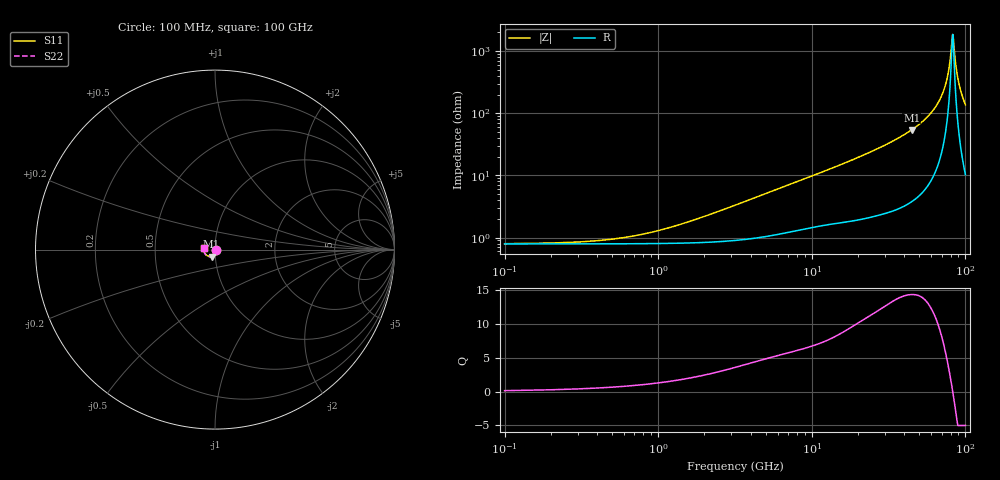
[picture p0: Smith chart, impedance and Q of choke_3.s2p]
#  Hz  S  RI  R  50
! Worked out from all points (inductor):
!   1000 points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, 100 MHz to 100 GHz, reference 50 ohm
!   read as 1/Y11, port 2 shorted: L = 160 pH near 2.6 GHz
!   highest Q = 14.3 at 44.7 GHz (marker M1), where L = 192 pH
!   self-resonance near 82.69 GHz
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1e8  0.00793 -7.28e-06  0.9922 -0.00201  0.9922 -0.00201  0.00793 -8.02e-06
1.3e9  0.00811 -0.000118  0.9917 -0.0261  0.9917 -0.0261  0.0081 -0.000128
2.6e9  0.0086 -0.000373  0.9901 -0.0521  0.9901 -0.0521  0.00859 -0.000392
4.1e9  0.00945 -0.000979  0.9871 -0.0816  0.9871 -0.0816  0.00945 -0.00101
8.1e9  0.0119 -0.00464  0.9745 -0.1575  0.9745 -0.1575  0.0119 -0.00469
1.04e10  0.0127 -0.00776  0.9653 -0.1997  0.9653 -0.1997  0.0127 -0.00783
1.34e10  0.0125 -0.0122  0.9512 -0.2538  0.9512 -0.2538  0.0126 -0.0123
1.68e10  0.0112 -0.0169  0.9319 -0.3142  0.9319 -0.3142  0.0113 -0.017
2.07e10  0.0088 -0.0218  0.9052 -0.3819  0.9052 -0.3819  0.00896 -0.022
2.53e10  0.00511 -0.027  0.8674 -0.4588  0.8674 -0.4588  0.00534 -0.0272
2.94e10  0.000987 -0.0311  0.8286 -0.5242  0.8286 -0.5242  0.00129 -0.0314
3.34e10  -0.00372 -0.0344  0.7859 -0.5851  0.7859 -0.5851  -0.00335 -0.0348
3.87e10  -0.0106 -0.0374  0.7226 -0.6604  0.7226 -0.6604  -0.0101 -0.038
4.47e10  -0.0188 -0.0392  0.6424 -0.7373  0.6424 -0.7373  -0.0183 -0.04
5.01e10  -0.0265 -0.0392  0.5634 -0.7985  0.5634 -0.7985  -0.0259 -0.0403
5.85e10  -0.038 -0.0362  0.4293 -0.8765  0.4293 -0.8765  -0.0374 -0.0378
6.67e10  -0.0479 -0.0302  0.2884 -0.9313  0.2884 -0.9313  -0.0473 -0.0324
7.5e10  -0.0556 -0.0215  0.139 -0.9639  0.139 -0.9639  -0.0553 -0.0242
7.92e10  -0.0584 -0.0164  0.0621 -0.9715  0.0621 -0.9715  -0.0583 -0.0194
8.34e10  -0.0605 -0.0109  -0.0152 -0.9731  -0.0152 -0.973  -0.0606 -0.0143
9.14e10  -0.062 9.18e-05  -0.1616 -0.9589  -0.1616 -0.9588  -0.0627 -0.00378
1e11  -0.0602 0.0115  -0.3144 -0.9197  -0.3144 -0.9197  -0.0617 0.00716
